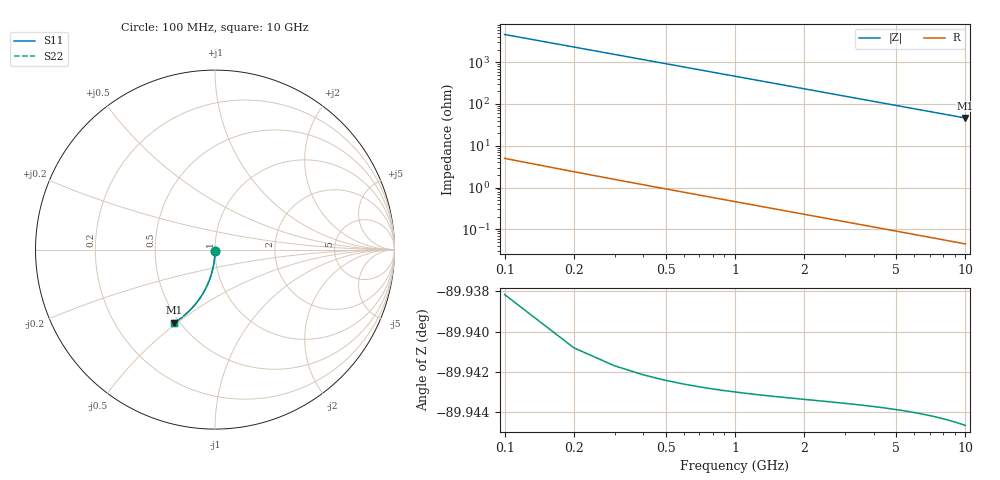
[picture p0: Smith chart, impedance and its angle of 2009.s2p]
# Hz S RI R 50.00
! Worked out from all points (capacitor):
!   100 points, 100 MHz to 10 GHz, reference 50 ohm
!   read as one part in shunt: C = 344 fF near 100 MHz
!   lowest |Z| = 46.2 ohm at 10 GHz (marker M1)
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1e8  1.19e-05 -0.00529  0.9999 -0.00552  0.9999 -0.00552  1.19e-05 -0.00529
2e8  -8.06e-05 -0.0106  0.9998 -0.011  0.9998 -0.011  -8.06e-05 -0.0106
3e8  -0.000232 -0.0159  0.9997 -0.0166  0.9997 -0.0166  -0.000232 -0.0159
4e8  -0.000441 -0.0212  0.9995 -0.0221  0.9995 -0.0221  -0.000441 -0.0212
5e8  -0.000709 -0.0264  0.9992 -0.0276  0.9992 -0.0276  -0.000709 -0.0264
6e8  -0.00103 -0.0317  0.9989 -0.0331  0.9989 -0.0331  -0.00103 -0.0317
7e8  -0.00142 -0.037  0.9985 -0.0386  0.9985 -0.0386  -0.00142 -0.037
8e8  -0.00186 -0.0422  0.998 -0.0441  0.998 -0.0441  -0.00186 -0.0422
9e8  -0.00236 -0.0475  0.9975 -0.0496  0.9975 -0.0496  -0.00236 -0.0475
1.1e9  -0.00353 -0.058  0.9964 -0.0605  0.9964 -0.0605  -0.00353 -0.058
1.4e9  -0.00572 -0.0736  0.9942 -0.0768  0.9942 -0.0768  -0.00572 -0.0736
1.8e9  -0.00942 -0.0943  0.9905 -0.0985  0.9905 -0.0985  -0.00942 -0.0943
2.1e9  -0.0128 -0.1097  0.9871 -0.1145  0.9871 -0.1145  -0.0128 -0.1097
2.5e9  -0.018 -0.1299  0.9819 -0.1356  0.9819 -0.1356  -0.018 -0.1299
2.9e9  -0.0241 -0.1498  0.9758 -0.1564  0.9758 -0.1564  -0.0241 -0.1498
3.4e9  -0.0328 -0.174  0.967 -0.1818  0.967 -0.1818  -0.0328 -0.174
4.2e9  -0.0493 -0.2113  0.9506 -0.2209  0.9506 -0.2209  -0.0493 -0.2113
5.1e9  -0.0711 -0.2507  0.9288 -0.2624  0.9288 -0.2624  -0.0711 -0.2507
5.9e9  -0.0929 -0.2832  0.9069 -0.2968  0.9069 -0.2968  -0.0929 -0.2832
6.7e9  -0.1168 -0.3131  0.883 -0.3285  0.883 -0.3285  -0.1168 -0.3131
8.4e9  -0.1724 -0.3677  0.8273 -0.3871  0.8273 -0.3871  -0.1724 -0.3677
1e10  -0.2284 -0.4078  0.7712 -0.431  0.7712 -0.431  -0.2284 -0.4078
